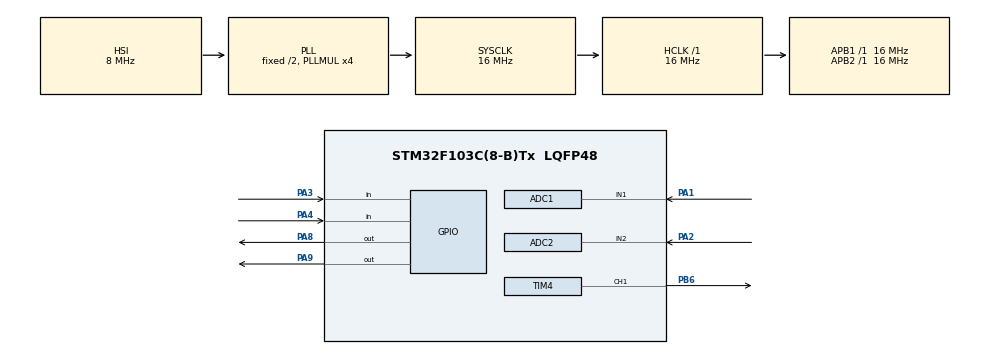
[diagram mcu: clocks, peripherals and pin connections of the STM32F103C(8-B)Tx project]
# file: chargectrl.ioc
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ADC1.Channel-0\#ChannelRegularConversion=ADC_CHANNEL_1
ADC1.NbrOfConversionFlag=1
ADC1.Rank-0\#ChannelRegularConversion=1
ADC1.SamplingTime-0\#ChannelRegularConversion=ADC_SAMPLETIME_1CYCLE_5
ADC1.master=1
ADC2.Channel-1\#ChannelRegularConversion=ADC_CHANNEL_2
ADC2.NbrOfConversionFlag=1
ADC2.Rank-1\#ChannelRegularConversion=1
ADC2.SamplingTime-1\#ChannelRegularConversion=ADC_SAMPLETIME_1CYCLE_5
Mcu.Family=STM32F1
Mcu.Name=STM32F103C(8-B)Tx
Mcu.Package=LQFP48
NVIC.PriorityGroup=NVIC_PRIORITYGROUP_4
NVIC.TIM4_IRQn=true\:0\:0\:false\:false\:true\:true\:true\:true
PA1.Signal=ADCx_IN1
PA13.Mode=Serial_Wire
PA13.Signal=SYS_JTMS-SWDIO
PA14.Mode=Serial_Wire
PA14.Signal=SYS_JTCK-SWCLK
PA2.Signal=ADCx_IN2
PA3.Signal=GPIO_Input
PA4.Signal=GPIO_Input
PA8.Signal=GPIO_Output
PA9.Signal=GPIO_Output
PB6.Signal=S_TIM4_CH1
ProjectManager.HeapSize=0x200
ProjectManager.StackSize=0x400
ProjectManager.TargetToolchain=STM32CubeIDE
RCC.ADCPresc=RCC_ADCPCLK2_DIV4
RCC.AHBFreq_Value=16000000
RCC.APB1Freq_Value=16000000
RCC.APB1TimFreq_Value=16000000
RCC.APB2Freq_Value=16000000
RCC.APB2TimFreq_Value=16000000
RCC.HCLKFreq_Value=16000000
RCC.PLLMUL=RCC_PLL_MUL4
RCC.SYSCLKFreq_VALUE=16000000
RCC.SYSCLKSource=RCC_SYSCLKSOURCE_PLLCLK
RCC.USBFreq_Value=16000000
SH.ADCx_IN1.0=ADC1_IN1,IN1
SH.ADCx_IN2.0=ADC2_IN2,IN2
SH.S_TIM4_CH1.0=TIM4_CH1,PWM Generation1 CH1
TIM4.AutoReloadPreload=TIM_AUTORELOAD_PRELOAD_ENABLE
TIM4.Channel-PWM\ Generation1\ CH1=TIM_CHANNEL_1
TIM4.Period=511
board=custom

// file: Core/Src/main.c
/* USER CODE BEGIN Header */
/**
  ******************************************************************************
  * @file           : main.c
  * @brief          : Main program body
  ******************************************************************************
  * @attention
  *
  * Copyright (c) 2025 STMicroelectronics.
  * All rights reserved.
  *
  * This software is licensed under terms that can be found in the LICENSE file
  * in the root directory of this software component.
  * If no LICENSE file comes with this software, it is provided AS-IS.
  *
  ******************************************************************************
  */
/* USER CODE END Header */
#include "main.h"

/* USER CODE BEGIN PTD */
typedef enum {
	CHARGE_OFF = 0u,
	CHARGE_CONST_I,
	CHARGE_CONST_V,
	CHARGE_FINISHED,
	CHARGE_UNDERVOLT
} ChargeMode;

typedef struct {
	int32_t prop;
	int32_t diff;
	int32_t sum;
} PID;

typedef struct {
	uint32_t duty;
	uint32_t duty_incr;
} Duty;
/* USER CODE END PTD */

/* USER CODE BEGIN PD */
#define V_MIN 0xDF1u
#define V_MAX 0x293u
#define V_STABLE 0x740u
#define V_CONST 0x2F2u
#define V_DELTA 0x100u

#define I_MIN 0xF65u
#define I_MAX 0x2A3u
#define I_CONST 0x76Bu
#define I_DELTA 0x12Du

#define DUTY_MIN 0x008u
#define DUTY_MAX 0x1AEu

#define PID_DIFF_MUL 0
#define PID_SUM_MUL 0
#define PID_PROP_MUL 1
#define PID_MUL_SUM (PID_DIFF_MUL + PID_SUM_MUL + PID_PROP_MUL)

#define PID_MUL_SCALE 0x00000400

#define V_OFFSET 1
#define I_OFFSET 1

#define DUTY_DIVIDER 0x00100000
#define DUTY_INCR_MIN (DUTY_MIN * DUTY_DIVIDER)
#define DUTY_INCR_MAX (DUTY_MAX * DUTY_DIVIDER)
/* USER CODE END PD */

ADC_HandleTypeDef hadc1;
ADC_HandleTypeDef hadc2;

TIM_HandleTypeDef htim4;

/* USER CODE BEGIN PV */
GPIO_PinState hasVoltage;
GPIO_PinState hasCurrent;

uint32_t voltage;
uint32_t current;

Duty duty;

ChargeMode current_mode;

PID pid;
/* USER CODE END PV */

void SystemClock_Config(void);
static void MX_GPIO_Init(void);
static void MX_ADC1_Init(void);
static void MX_ADC2_Init(void);
static void MX_TIM4_Init(void);
/* USER CODE BEGIN PFP */
void mainLoop(uint32_t* voltage, uint32_t* current,
		GPIO_PinState* has_voltage, GPIO_PinState* has_current,
		ChargeMode* current_mode, PID* pid, Duty* duty);

void getVoltage(uint32_t* voltage);
void getVoltageAndCurrent(uint32_t* voltage, uint32_t* current);

void setChargeMode(ChargeMode* current_mode, ChargeMode new_mode);
void setPWMDuty(PID* pid, Duty* current_duty, ChargeMode* mode, uint32_t* voltage, uint32_t* current);
void startPWM(Duty* duty);
void stopPWM(void);

/* USER CODE END PFP */

int main(void)
{

  /* USER CODE BEGIN 1 */
  duty.duty = DUTY_MIN;
  duty.duty_incr = DUTY_MIN * DUTY_DIVIDER;
  /* USER CODE END 1 */

  /* MCU Configuration--------------------------------------------------------*/

  /* Reset of all peripherals, Initializes the Flash interface and the Systick. */
  HAL_Init();

  /* Configure the system clock */
  SystemClock_Config();

  /* Initialize all configured peripherals */
  MX_GPIO_Init();
  MX_ADC1_Init();
  MX_ADC2_Init();
  MX_TIM4_Init();

  /* Infinite loop */
  while (1)
  {

    /* USER CODE BEGIN 3 */
	  mainLoop(&voltage, &current, &hasVoltage, &hasCurrent, &current_mode, &pid, &duty);
  }
  /* USER CODE END 3 */
}

void SystemClock_Config(void)
{
  RCC_OscInitTypeDef RCC_OscInitStruct = {0};
  RCC_ClkInitTypeDef RCC_ClkInitStruct = {0};
  RCC_PeriphCLKInitTypeDef PeriphClkInit = {0};

  /** Initializes the RCC Oscillators according to the specified parameters
  * in the RCC_OscInitTypeDef structure.
  */
  RCC_OscInitStruct.OscillatorType = RCC_OSCILLATORTYPE_HSI;
  RCC_OscInitStruct.HSIState = RCC_HSI_ON;
  RCC_OscInitStruct.HSICalibrationValue = RCC_HSICALIBRATION_DEFAULT;
  RCC_OscInitStruct.PLL.PLLState = RCC_PLL_ON;
  RCC_OscInitStruct.PLL.PLLSource = RCC_PLLSOURCE_HSI_DIV2;
  RCC_OscInitStruct.PLL.PLLMUL = RCC_PLL_MUL4;
  if (HAL_RCC_OscConfig(&RCC_OscInitStruct) != HAL_OK)
  {
    Error_Handler();
  }

  /** Initializes the CPU, AHB and APB buses clocks
  */
  RCC_ClkInitStruct.ClockType = RCC_CLOCKTYPE_HCLK|RCC_CLOCKTYPE_SYSCLK
                              |RCC_CLOCKTYPE_PCLK1|RCC_CLOCKTYPE_PCLK2;
  RCC_ClkInitStruct.SYSCLKSource = RCC_SYSCLKSOURCE_PLLCLK;
  RCC_ClkInitStruct.AHBCLKDivider = RCC_SYSCLK_DIV1;
  RCC_ClkInitStruct.APB1CLKDivider = RCC_HCLK_DIV1;
  RCC_ClkInitStruct.APB2CLKDivider = RCC_HCLK_DIV1;

  if (HAL_RCC_ClockConfig(&RCC_ClkInitStruct, FLASH_LATENCY_0) != HAL_OK)
  {
    Error_Handler();
  }
  PeriphClkInit.PeriphClockSelection = RCC_PERIPHCLK_ADC;
  PeriphClkInit.AdcClockSelection = RCC_ADCPCLK2_DIV4;
  if (HAL_RCCEx_PeriphCLKConfig(&PeriphClkInit) != HAL_OK)
  {
    Error_Handler();
  }
}

static void MX_ADC1_Init(void)
{

  ADC_ChannelConfTypeDef sConfig = {0};

  /** Common config
  */
  hadc1.Instance = ADC1;
  hadc1.Init.ScanConvMode = ADC_SCAN_DISABLE;
  hadc1.Init.ContinuousConvMode = DISABLE;
  hadc1.Init.DiscontinuousConvMode = DISABLE;
  hadc1.Init.ExternalTrigConv = ADC_SOFTWARE_START;
  hadc1.Init.DataAlign = ADC_DATAALIGN_RIGHT;
  hadc1.Init.NbrOfConversion = 1;
  if (HAL_ADC_Init(&hadc1) != HAL_OK)
  {
    Error_Handler();
  }

  /** Configure Regular Channel
  */
  sConfig.Channel = ADC_CHANNEL_1;
  sConfig.Rank = ADC_REGULAR_RANK_1;
  sConfig.SamplingTime = ADC_SAMPLETIME_1CYCLE_5;
  if (HAL_ADC_ConfigChannel(&hadc1, &sConfig) != HAL_OK)
  {
    Error_Handler();
  }

}

static void MX_ADC2_Init(void)
{

  ADC_ChannelConfTypeDef sConfig = {0};

  /** Common config
  */
  hadc2.Instance = ADC2;
  hadc2.Init.ScanConvMode = ADC_SCAN_DISABLE;
  hadc2.Init.ContinuousConvMode = DISABLE;
  hadc2.Init.DiscontinuousConvMode = DISABLE;
  hadc2.Init.ExternalTrigConv = ADC_SOFTWARE_START;
  hadc2.Init.DataAlign = ADC_DATAALIGN_RIGHT;
  hadc2.Init.NbrOfConversion = 1;
  if (HAL_ADC_Init(&hadc2) != HAL_OK)
  {
    Error_Handler();
  }

  /** Configure Regular Channel
  */
  sConfig.Channel = ADC_CHANNEL_2;
  sConfig.Rank = ADC_REGULAR_RANK_1;
  sConfig.SamplingTime = ADC_SAMPLETIME_1CYCLE_5;
  if (HAL_ADC_ConfigChannel(&hadc2, &sConfig) != HAL_OK)
  {
    Error_Handler();
  }

}

static void MX_TIM4_Init(void)
{

  TIM_MasterConfigTypeDef sMasterConfig = {0};
  TIM_OC_InitTypeDef sConfigOC = {0};

  htim4.Instance = TIM4;
  htim4.Init.Prescaler = 0;
  htim4.Init.CounterMode = TIM_COUNTERMODE_UP;
  htim4.Init.Period = 511;
  htim4.Init.ClockDivision = TIM_CLOCKDIVISION_DIV1;
  htim4.Init.AutoReloadPreload = TIM_AUTORELOAD_PRELOAD_ENABLE;
  if (HAL_TIM_PWM_Init(&htim4) != HAL_OK)
  {
    Error_Handler();
  }
  sMasterConfig.MasterOutputTrigger = TIM_TRGO_RESET;
  sMasterConfig.MasterSlaveMode = TIM_MASTERSLAVEMODE_DISABLE;
  if (HAL_TIMEx_MasterConfigSynchronization(&htim4, &sMasterConfig) != HAL_OK)
  {
    Error_Handler();
  }
  sConfigOC.OCMode = TIM_OCMODE_PWM1;
  sConfigOC.Pulse = 0;
  sConfigOC.OCPolarity = TIM_OCPOLARITY_HIGH;
  sConfigOC.OCFastMode = TIM_OCFAST_DISABLE;
  if (HAL_TIM_PWM_ConfigChannel(&htim4, &sConfigOC, TIM_CHANNEL_1) != HAL_OK)
  {
    Error_Handler();
  }
  HAL_TIM_MspPostInit(&htim4);

}

static void MX_GPIO_Init(void)
{
  GPIO_InitTypeDef GPIO_InitStruct = {0};

  /* GPIO Ports Clock Enable */
  __HAL_RCC_GPIOA_CLK_ENABLE();
  __HAL_RCC_GPIOB_CLK_ENABLE();

  /*Configure GPIO pin Output Level */
  HAL_GPIO_WritePin(GPIOA, GPIO_PIN_8|GPIO_PIN_9, GPIO_PIN_RESET);

  /*Configure GPIO pins : PA3 PA4 */
  GPIO_InitStruct.Pin = GPIO_PIN_3|GPIO_PIN_4;
  GPIO_InitStruct.Mode = GPIO_MODE_INPUT;
  GPIO_InitStruct.Pull = GPIO_NOPULL;
  HAL_GPIO_Init(GPIOA, &GPIO_InitStruct);

  /*Configure GPIO pins : PA8 PA9 */
  GPIO_InitStruct.Pin = GPIO_PIN_8|GPIO_PIN_9;
  GPIO_InitStruct.Mode = GPIO_MODE_OUTPUT_PP;
  GPIO_InitStruct.Pull = GPIO_NOPULL;
  GPIO_InitStruct.Speed = GPIO_SPEED_FREQ_LOW;
  HAL_GPIO_Init(GPIOA, &GPIO_InitStruct);

}

/* USER CODE BEGIN 4 */
void mainLoop(uint32_t* voltage, uint32_t* current,
		GPIO_PinState* has_voltage, GPIO_PinState* has_current,
		ChargeMode* current_mode, PID* pid, Duty* duty) {
	*has_voltage = HAL_GPIO_ReadPin(GPIOA, GPIO_PIN_3);
	*has_current = HAL_GPIO_ReadPin(GPIOA, GPIO_PIN_4);

	if (*has_voltage == GPIO_PIN_SET && *has_current == GPIO_PIN_RESET && *current_mode == CHARGE_OFF) {
		getVoltage(voltage);

		if (*voltage > V_MIN) {
			setChargeMode(current_mode, CHARGE_UNDERVOLT);
			return;
		}
		else if (*voltage < V_MIN && *voltage > V_CONST) {
			setChargeMode(current_mode, CHARGE_CONST_I);
		}
		else if (*voltage < V_CONST && *voltage > V_MAX) {
			setChargeMode(current_mode, CHARGE_CONST_V);
		}
		else if (*voltage < V_MAX) {
			setChargeMode(current_mode, CHARGE_FINISHED);
			return;
		}

		startPWM(duty);

		pid->prop = DUTY_MIN;
		pid->sum = DUTY_MIN;
	}
	else if (*has_voltage == GPIO_PIN_SET && *has_current == GPIO_PIN_RESET && *current_mode == CHARGE_CONST_I) {
		getVoltage(voltage);
		current = 0;

		if (*voltage > V_MIN) {
			setChargeMode(current_mode, CHARGE_UNDERVOLT);
			stopPWM();
		}
		else if (*voltage < V_CONST && *voltage > V_MAX) {
			setChargeMode(current_mode, CHARGE_CONST_V);
		}
		else if (*voltage < V_MAX) {
			setChargeMode(current_mode, CHARGE_FINISHED);
			stopPWM();
		}
	}
	else if (*has_voltage == GPIO_PIN_SET && *has_current == GPIO_PIN_RESET && *current_mode == CHARGE_CONST_V) {
		getVoltage(voltage);
		current = 0;

		if (*voltage > V_MIN) {
			setChargeMode(current_mode, CHARGE_UNDERVOLT);
			stopPWM();
		}
		else if (*voltage < V_MAX) {
			setChargeMode(current_mode, CHARGE_FINISHED);
			stopPWM();
		}
	}
	else if (*has_voltage == GPIO_PIN_SET && *has_current == GPIO_PIN_SET && *current_mode == CHARGE_OFF) {
		getVoltageAndCurrent(voltage, current);

		if (*voltage > V_MIN) {
			setChargeMode(current_mode, CHARGE_UNDERVOLT);
			return;
		}
		else if (*voltage < V_MIN && *voltage > V_CONST) {
			setChargeMode(current_mode, CHARGE_CONST_I);
		}
		else if (*voltage < V_CONST && *voltage > V_MAX) {
			setChargeMode(current_mode, CHARGE_CONST_V);
		}
		else if (*voltage < V_MAX) {
			setChargeMode(current_mode, CHARGE_FINISHED);
			return;
		}

		startPWM(duty);

		pid->prop = DUTY_MIN;
		pid->sum = DUTY_MIN;
	}
	else if (*has_voltage == GPIO_PIN_SET && *has_current == GPIO_PIN_SET && *current_mode == CHARGE_CONST_I) {
		getVoltageAndCurrent(voltage, current);

		if (*voltage < V_CONST && *voltage > V_MAX) {
			setChargeMode(current_mode, CHARGE_CONST_V);
		}
		else if (*voltage < V_MAX) {
			setChargeMode(current_mode, CHARGE_FINISHED);

			stopPWM();
			return;
		}
	}
	else if (*has_voltage == GPIO_PIN_SET && *has_current == GPIO_PIN_SET && *current_mode == CHARGE_CONST_V) {
		getVoltageAndCurrent(voltage, current);

		if (*voltage < V_MAX) {
			setChargeMode(current_mode, CHARGE_FINISHED);

			stopPWM();
			return;
		}
	}
	else if (*has_voltage == GPIO_PIN_SET && *has_current == GPIO_PIN_RESET && *current_mode == CHARGE_CONST_V) {
		setChargeMode(current_mode, CHARGE_FINISHED);

		stopPWM();
	}
	else if (*has_voltage == GPIO_PIN_RESET && *has_current == GPIO_PIN_RESET && *current_mode != CHARGE_OFF) {
		setChargeMode(current_mode, CHARGE_OFF);

		stopPWM();
	}
}

void getVoltage(uint32_t* voltage) {
	HAL_ADC_Start(&hadc1);

	if (HAL_ADC_PollForConversion(&hadc1, 10) == HAL_OK)
		*voltage = HAL_ADC_GetValue(&hadc1);
}

void getVoltageAndCurrent(uint32_t* voltage, uint32_t* current) {
	HAL_ADC_Start(&hadc1);
	HAL_ADC_Start(&hadc2);

	if (HAL_ADC_PollForConversion(&hadc1, 10) == HAL_OK)
		*voltage = HAL_ADC_GetValue(&hadc1);

	if (HAL_ADC_PollForConversion(&hadc2, 10) == HAL_OK)
		*current = HAL_ADC_GetValue(&hadc2);
}

void setChargeMode(ChargeMode* current_mode, ChargeMode new_mode) {
	*current_mode = new_mode;

	if (new_mode == CHARGE_OFF || new_mode == CHARGE_FINISHED || new_mode == CHARGE_UNDERVOLT) {
		HAL_GPIO_WritePin(GPIOA, GPIO_PIN_8, GPIO_PIN_RESET);
		HAL_GPIO_WritePin(GPIOA, GPIO_PIN_9, GPIO_PIN_RESET);
	}
	else if (new_mode == CHARGE_CONST_I) {
		HAL_GPIO_WritePin(GPIOA, GPIO_PIN_9, GPIO_PIN_RESET);
		HAL_GPIO_WritePin(GPIOA, GPIO_PIN_8, GPIO_PIN_SET);
	}
	else if (new_mode == CHARGE_CONST_V) {
		HAL_GPIO_WritePin(GPIOA, GPIO_PIN_8, GPIO_PIN_RESET);
		HAL_GPIO_WritePin(GPIOA, GPIO_PIN_9, GPIO_PIN_SET);
	}
}

void startPWM(Duty* duty) {
	if (HAL_TIM_GetChannelState(&htim4, TIM_CHANNEL_1) == HAL_TIM_CHANNEL_STATE_READY) {
		__HAL_TIM_SET_COMPARE(&htim4, TIM_CHANNEL_1, duty->duty);

		HAL_TIM_PWM_Start(&htim4, TIM_CHANNEL_1);
		HAL_TIM_Base_Start_IT(&htim4);
	}
}

void stopPWM(void) {
	if (HAL_TIM_GetChannelState(&htim4, TIM_CHANNEL_1) == HAL_TIM_CHANNEL_STATE_BUSY) {
		HAL_TIM_PWM_Stop(&htim4, TIM_CHANNEL_1);
	}
}

void setPWMDuty(PID* pid, Duty* current_duty, ChargeMode* mode, uint32_t* voltage, uint32_t* current) {
	int32_t i_err;
	if (*mode == CHARGE_CONST_I) {
		i_err = *current - I_CONST;
	}
	else if (*mode == CHARGE_CONST_V) {
		i_err = *voltage - V_CONST;
	}

	pid->diff = i_err - pid->prop;
	pid->sum += i_err;
	pid->prop = i_err;

	int32_t d_duty_incr = PID_MUL_SCALE * (PID_DIFF_MUL * pid->diff + PID_SUM_MUL * pid->sum + PID_PROP_MUL * pid->prop) / PID_MUL_SUM;

	uint32_t new_duty_incr = current_duty->duty_incr + d_duty_incr;
	uint32_t new_duty = new_duty_incr / DUTY_DIVIDER;

	if ((d_duty_incr > 0 && new_duty_incr > current_duty->duty_incr) || (d_duty_incr < 0 && new_duty_incr < current_duty->duty_incr)) {
		if (new_duty_incr <= DUTY_INCR_MAX && new_duty_incr >= DUTY_INCR_MIN) {
			current_duty->duty_incr = new_duty_incr;
			current_duty->duty = new_duty;

			__HAL_TIM_SET_COMPARE(&htim4, TIM_CHANNEL_1, current_duty->duty);
		}
		else if (new_duty_incr > DUTY_INCR_MAX) {
			current_duty->duty_incr = DUTY_INCR_MAX;
			current_duty->duty = DUTY_MAX;

			__HAL_TIM_SET_COMPARE(&htim4, TIM_CHANNEL_1, DUTY_MAX);
		}

		else if (new_duty_incr < DUTY_INCR_MIN) {
			current_duty->duty = 0;

			__HAL_TIM_SET_COMPARE(&htim4, TIM_CHANNEL_1, 0);
		}
	}
	else if (d_duty_incr > 0 && new_duty_incr < current_duty->duty_incr) {
		current_duty->duty_incr = DUTY_INCR_MAX;
		current_duty->duty = DUTY_MAX;

		__HAL_TIM_SET_COMPARE(&htim4, TIM_CHANNEL_1, DUTY_MAX);
	}
	else if (d_duty_incr < 0 && new_duty_incr > current_duty->duty_incr) {
		current_duty->duty_incr = 0;
		current_duty->duty = 0;

		__HAL_TIM_SET_COMPARE(&htim4, TIM_CHANNEL_1, 0);
	}
}

void HAL_TIM_PeriodElapsedCallback(TIM_HandleTypeDef *htim)
{
    if (htim->Instance == TIM4)
    {
    	if (current_mode == CHARGE_CONST_I || current_mode == CHARGE_CONST_V) {
    		setPWMDuty(&pid, &duty, &current_mode, &voltage, &current);
    	}
    }
}
/* USER CODE END 4 */

void Error_Handler(void)
{
  /* USER CODE BEGIN Error_Handler_Debug */
  /* User can add his own implementation to report the HAL error return state */
  stopPWM();

  __disable_irq();

  while (1)
  {
  }
  /* USER CODE END Error_Handler_Debug */
}
